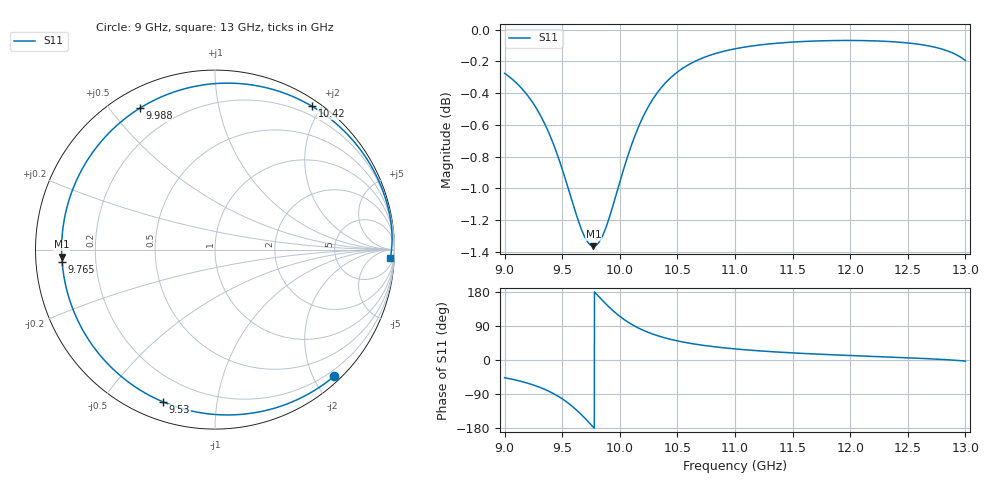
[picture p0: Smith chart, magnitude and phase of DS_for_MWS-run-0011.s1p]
! TOUCHSTONE file generated by CST DESIGN STUDIO
! Date and time: Tue Feb  4 18:23:18 2025
! Project name: C:\Work\MatlabApps\UnitCellOptimizationMatlab\CST\unitcell.cst
! Tree item: Tasks\Sweep1\SPara1\S-Parameters
! Header version: 2024
! Port assignment regex: !\s*Touchstone port\s*([0-9]+)\s*=\s*(CST MWS port|CST DES external port|CST DES block port)\s*(.+)\s* \(\"(.*)\"\)(\s*mode\s*([0-9]+))?.*
! Touchstone port assignment:
! Touchstone port 1 = CST DES external port 1 ("")
# GHz S MA R 50
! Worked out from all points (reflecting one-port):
!   4001 points, 9 GHz to 13 GHz, reference 50 ohm
!   lowest |S11| = -1.4 dB at 9.771 GHz (marker M1), VSWR 12.75, Z = 3.92 - j1.15 ohm
!   phase of S11 starts at -47 deg and turns -316 deg over the sweep
!   S11 on the Smith chart (normalised r, x): 9 GHz: 0.10, -2.31; 9.53 GHz: 0.08, -0.71; 9.765 GHz: 0.08, -0.04; 9.988 GHz: 0.08, +0.60; 10.42 GHz: 0.08, +1.88; 13 GHz: 15, -33
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9  0.9689 -46.7
9.143  0.9588 -56.4
9.273  0.9449 -68.5
9.403  0.9244 -85.3
9.5  0.9037 -102.5
9.53  0.8966 -108.8
9.587  0.8827 -122.2
9.642  0.87 -137.0
9.707  0.8587 -156.6
9.765  0.8546 -175.4
9.771  0.8545 -177.3
9.816  0.8567 167.9
9.864  0.8632 152.6
9.927  0.8767 134.0
9.988  0.8922 118.1
10  0.8953 115.2
10.044  0.9063 105.4
10.092  0.9176 96.0
10.206  0.9394 78.1
10.309  0.9535 66.0
10.423  0.9644 55.9
10.5  0.9698 50.4
10.717  0.9797 39.0
11  0.9863 29.3
11.5  0.9911 18.7
12  0.9923 11.8
12.5  0.9905 5.8
13  0.9779 -2.9
